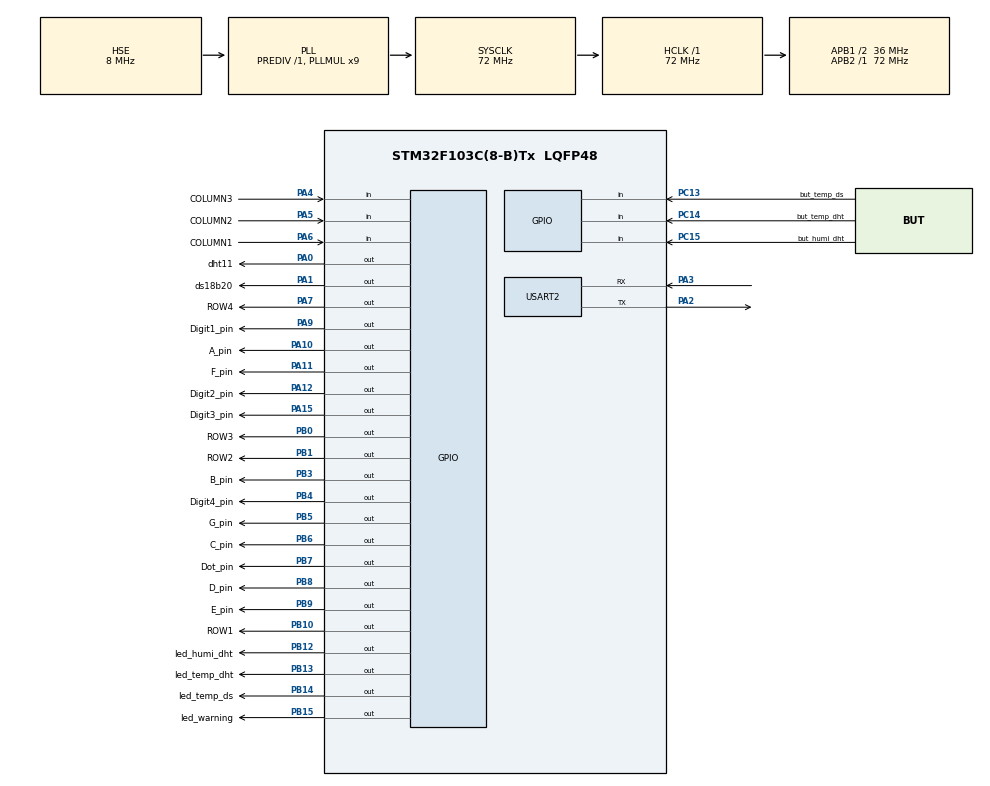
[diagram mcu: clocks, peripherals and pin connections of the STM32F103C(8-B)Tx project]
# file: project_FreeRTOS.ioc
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FREERTOS.BinarySemaphores01=semaphore_uart,Dynamic,NULL
FREERTOS.Tasks01=read_data,40,256,read_data_Task,Default,NULL,Dynamic,NULL,NULL;button_set_mode,32,128,button_set_mode_Task,Default,NULL,Dynamic,NULL,NULL;key_pad,24,128,key_pad_Task,Default,NULL,Dynamic,NULL,NULL;display_led7seg,16,128,display_led7seg_Task,Default,NULL,Dynamic,NULL,NULL
FREERTOS.Timers01=timer_get_key_pad,cb_timer_get_key_pad,osTimerOnce,Default,NULL,Dynamic,NULL
FREERTOS.configTOTAL_HEAP_SIZE=5120
FREERTOS.configUSE_NEWLIB_REENTRANT=1
Mcu.Family=STM32F1
Mcu.Name=STM32F103C(8-B)Tx
Mcu.Package=LQFP48
NVIC.PriorityGroup=NVIC_PRIORITYGROUP_4
NVIC.TIM1_UP_IRQn=true\:15\:0\:false\:false\:true\:false\:false\:true\:true
NVIC.TimeBase=TIM1_UP_IRQn
NVIC.TimeBaseIP=TIM1
NVIC.USART2_IRQn=true\:5\:0\:false\:false\:true\:true\:true\:true\:true
PA0-WKUP.GPIO_Label=dht11
PA0-WKUP.PinState=GPIO_PIN_SET
PA0-WKUP.Signal=GPIO_Output
PA1.GPIO_Label=ds18b20
PA1.PinState=GPIO_PIN_SET
PA1.Signal=GPIO_Output
PA10.GPIO_Label=A_pin
PA10.Signal=GPIO_Output
PA11.GPIO_Label=F_pin
PA11.Signal=GPIO_Output
PA12.GPIO_Label=Digit2_pin
PA12.Signal=GPIO_Output
PA13.Mode=Serial_Wire
PA13.Signal=SYS_JTMS-SWDIO
PA14.Mode=Serial_Wire
PA14.Signal=SYS_JTCK-SWCLK
PA15.GPIO_Label=Digit3_pin
PA15.Signal=GPIO_Output
PA2.Mode=Asynchronous
PA2.Signal=USART2_TX
PA3.Mode=Asynchronous
PA3.Signal=USART2_RX
PA4.GPIO_Label=COLUMN3
PA4.GPIO_PuPd=GPIO_PULLUP
PA4.Signal=GPIO_Input
PA5.GPIO_Label=COLUMN2
PA5.GPIO_PuPd=GPIO_PULLUP
PA5.Signal=GPIO_Input
PA6.GPIO_Label=COLUMN1
PA6.GPIO_PuPd=GPIO_PULLUP
PA6.Signal=GPIO_Input
PA7.GPIO_Label=ROW4
PA7.Signal=GPIO_Output
PA9.GPIO_Label=Digit1_pin
PA9.Signal=GPIO_Output
PB0.GPIO_Label=ROW3
PB0.Signal=GPIO_Output
PB1.GPIO_Label=ROW2
PB1.Signal=GPIO_Output
PB10.GPIO_Label=ROW1
PB10.Signal=GPIO_Output
PB12.GPIO_Label=led_humi_dht
PB12.Signal=GPIO_Output
PB13.GPIO_Label=led_temp_dht
PB13.Signal=GPIO_Output
PB14.GPIO_Label=led_temp_ds
PB14.Signal=GPIO_Output
PB15.GPIO_Label=led_warning
PB15.Signal=GPIO_Output
PB3.GPIO_Label=B_pin
PB3.Signal=GPIO_Output
PB4.GPIO_Label=Digit4_pin
PB4.Signal=GPIO_Output
PB5.GPIO_Label=G_pin
PB5.Signal=GPIO_Output
PB6.GPIO_Label=C_pin
PB6.Signal=GPIO_Output
PB7.GPIO_Label=Dot_pin
PB7.Signal=GPIO_Output
PB8.GPIO_Label=D_pin
PB8.Signal=GPIO_Output
PB9.GPIO_Label=E_pin
PB9.Signal=GPIO_Output
PC13-TAMPER-RTC.GPIO_Label=but_temp_ds
PC13-TAMPER-RTC.GPIO_PuPd=GPIO_PULLUP
PC13-TAMPER-RTC.Signal=GPIO_Input
PC14-OSC32_IN.GPIO_Label=but_temp_dht
PC14-OSC32_IN.GPIO_PuPd=GPIO_PULLUP
PC14-OSC32_IN.Signal=GPIO_Input
PC15-OSC32_OUT.GPIO_Label=but_humi_dht
PC15-OSC32_OUT.GPIO_PuPd=GPIO_PULLUP
PC15-OSC32_OUT.Signal=GPIO_Input
PD0-OSC_IN.Mode=HSE-External-Oscillator
PD0-OSC_IN.Signal=RCC_OSC_IN
PD1-OSC_OUT.Mode=HSE-External-Oscillator
PD1-OSC_OUT.Signal=RCC_OSC_OUT
ProjectManager.HeapSize=0x200
ProjectManager.StackSize=0x400
ProjectManager.TargetToolchain=STM32CubeIDE
RCC.AHBFreq_Value=72000000
RCC.APB1CLKDivider=RCC_HCLK_DIV2
RCC.APB1Freq_Value=36000000
RCC.APB1TimFreq_Value=72000000
RCC.APB2Freq_Value=72000000
RCC.APB2TimFreq_Value=72000000
RCC.HCLKFreq_Value=72000000
RCC.PLLMUL=RCC_PLL_MUL9
RCC.PLLSourceVirtual=RCC_PLLSOURCE_HSE
RCC.SYSCLKFreq_VALUE=72000000
RCC.SYSCLKSource=RCC_SYSCLKSOURCE_PLLCLK
RCC.USBFreq_Value=72000000
TIM2.Prescaler=72
USART2.VirtualMode=VM_ASYNC
VP_FREERTOS_VS_CMSIS_V2.Mode=CMSIS_V2
VP_SYS_VS_tim1.Mode=TIM1
VP_TIM2_VS_ClockSourceINT.Mode=Internal
board=custom

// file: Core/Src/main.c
/* USER CODE BEGIN Header */
/**
  ******************************************************************************
  * @file           : main.c
  * @brief          : Main program body
  ******************************************************************************
  * @attention
  *
  * Copyright (c) 2023 STMicroelectronics.
  * All rights reserved.
  *
  * This software is licensed under terms that can be found in the LICENSE file
  * in the root directory of this software component.
  * If no LICENSE file comes with this software, it is provided AS-IS.
  *
  ******************************************************************************
  */
/* USER CODE END Header */
#include "main.h"
#include "cmsis_os.h"

/* USER CODE BEGIN Includes */
#include "led7seg.h"
#include "ds18b20.h"
#include "DHT.h"
#include "keypad.h"
#include <string.h>
#include <stdio.h>
#include <stdbool.h>
#include <stdlib.h>
/* USER CODE END Includes */

/* USER CODE BEGIN PTD */
typedef enum {ds_temp, dht_temp, dht_humi} status_t;
/* USER CODE END PTD */

TIM_HandleTypeDef htim2;

UART_HandleTypeDef huart2;

/* Definitions for read_data */
osThreadId_t read_dataHandle;
const osThreadAttr_t read_data_attributes = {
  .name = "read_data",
  .stack_size = 256 * 4,
  .priority = (osPriority_t) osPriorityHigh,
};
/* Definitions for button_set_mode */
osThreadId_t button_set_modeHandle;
const osThreadAttr_t button_set_mode_attributes = {
  .name = "button_set_mode",
  .stack_size = 128 * 4,
  .priority = (osPriority_t) osPriorityAboveNormal,
};
/* Definitions for key_pad */
osThreadId_t key_padHandle;
const osThreadAttr_t key_pad_attributes = {
  .name = "key_pad",
  .stack_size = 128 * 4,
  .priority = (osPriority_t) osPriorityNormal,
};
/* Definitions for display_led7seg */
osThreadId_t display_led7segHandle;
const osThreadAttr_t display_led7seg_attributes = {
  .name = "display_led7seg",
  .stack_size = 128 * 4,
  .priority = (osPriority_t) osPriorityBelowNormal,
};
/* Definitions for timer_get_key_pad */
osTimerId_t timer_get_key_padHandle;
const osTimerAttr_t timer_get_key_pad_attributes = {
  .name = "timer_get_key_pad"
};
/* Definitions for semaphore_uart */
osSemaphoreId_t semaphore_uartHandle;
const osSemaphoreAttr_t semaphore_uart_attributes = {
  .name = "semaphore_uart"
};
/* USER CODE BEGIN PV */
DS18B20_Name DS1;
DHT_DataTypedef DHT11_Data;
float temp_ds, temp_dht, humi_dht;
status_t getting = ds_temp;
int period = 10; //set up period
float warning_temp = 40; //set up warning
float warning_humi = 70; //set up warning_humi
bool getting_period = 0;
bool getting_warning = 0;
bool getting_warning_humi = 0;
char uart_receive[3];
/* USER CODE END PV */

void SystemClock_Config(void);
static void MX_GPIO_Init(void);
static void MX_TIM2_Init(void);
static void MX_USART2_UART_Init(void);
void read_data_Task(void *argument);
void button_set_mode_Task(void *argument);
void key_pad_Task(void *argument);
void display_led7seg_Task(void *argument);
void cb_timer_get_key_pad(void *argument);

/* USER CODE BEGIN PFP */
#ifdef __GNUC__
  /* With GCC, small printf (option LD Linker->Libraries->Small printf
     set to 'Yes') calls __io_putchar() */
int __io_putchar(int ch)
#else
int fputc(int ch, FILE *f)
#endif /* __GNUC__ */
{
  /* Place your implementation of fputc here */
  /* e.g. write a character to the UART3 and Loop until the end of transmission */
  HAL_UART_Transmit(&huart2, (uint8_t *)&ch, 1, HAL_MAX_DELAY);

  return ch;
}
/* USER CODE END PFP */

/* USER CODE BEGIN 0 */
void set_up_led(status_t getting)
{
	if(getting == ds_temp)
	{
		HAL_GPIO_WritePin(led_temp_ds_GPIO_Port, led_temp_ds_Pin, SET);
		HAL_GPIO_WritePin(led_temp_dht_GPIO_Port, led_temp_dht_Pin, RESET);
		HAL_GPIO_WritePin(led_humi_dht_GPIO_Port, led_humi_dht_Pin, RESET);
	}
	else if(getting == dht_temp)
	{
		HAL_GPIO_WritePin(led_temp_ds_GPIO_Port, led_temp_ds_Pin, RESET);
		HAL_GPIO_WritePin(led_temp_dht_GPIO_Port, led_temp_dht_Pin, SET);
		HAL_GPIO_WritePin(led_humi_dht_GPIO_Port, led_humi_dht_Pin, RESET);
	}
	else if(getting == dht_humi)
	{
		HAL_GPIO_WritePin(led_temp_ds_GPIO_Port, led_temp_ds_Pin, RESET);
		HAL_GPIO_WritePin(led_temp_dht_GPIO_Port, led_temp_dht_Pin, RESET);
		HAL_GPIO_WritePin(led_humi_dht_GPIO_Port, led_humi_dht_Pin, SET);
	}
	if((temp_ds > warning_temp) || (temp_dht > warning_temp) || (humi_dht > warning_humi))
	{
		HAL_GPIO_WritePin(led_warning_GPIO_Port, led_warning_Pin, SET);
	}
	else
	{
		HAL_GPIO_WritePin(led_warning_GPIO_Port, led_warning_Pin, RESET);
	}

}

void uart_received_task(void)
{
	printf("Receive: %s\n", uart_receive);
		if(uart_receive[0] == '*')
		{
			char get_uart[2];
			strncpy(get_uart, uart_receive+1, 2);
			printf("Get uart to change period: %s\n", get_uart);
			period = atoi(get_uart);
			printf("Changed period: %d\n", period);
		}
		else if(uart_receive[0] == '#')
		{
			char get_uart[2];
			strncpy(get_uart, uart_receive+1, 2);
			printf("Get uart to change level warning: %s\n", get_uart);
			warning_temp = (float) atoi(get_uart);
			printf("Changed warning_temp: %d\n", (int) warning_temp);
		}
		else if(uart_receive[0] == '0')
		{
			char get_uart[2];
			strncpy(get_uart, uart_receive+1, 2);
			printf("Get uart to change level warning_humi: %s\n", get_uart);
			warning_humi = (float) atoi(get_uart);
			printf("Changed warning_humi: %d\n", (int) warning_humi);
		}
		else if(strcmp(uart_receive, "md1") == 0)
		{
			getting = ds_temp;
			printf("Changed mode to ds18b20 temperature!\n");
		}
		else if(strcmp(uart_receive, "md2") == 0)
		{
			getting = dht_temp;
			printf("Changed mode to dht11 temperature!\n");
		}
		else if(strcmp(uart_receive, "md3") == 0)
		{
			getting = dht_humi;
			printf("Changed mode to dht11 humidity!\n");
		}
		else
		{
			for(int i = 0; i < 3; i ++)
			{
				uart_receive[i] = '\0';
			}
		}
		set_up_led(getting);
		HAL_UART_Receive_IT(&huart2, (uint8_t *) uart_receive, 3);
}
/* USER CODE END 0 */

int main(void)
{

  /* MCU Configuration--------------------------------------------------------*/

  /* Reset of all peripherals, Initializes the Flash interface and the Systick. */
  HAL_Init();

  /* Configure the system clock */
  SystemClock_Config();

  /* Initialize all configured peripherals */
  MX_GPIO_Init();
  MX_TIM2_Init();
  MX_USART2_UART_Init();
  /* USER CODE BEGIN 2 */
  HAL_UART_Receive_IT(&huart2, (uint8_t *) uart_receive, 3);
  /* USER CODE END 2 */

  /* Init scheduler */
  osKernelInitialize();

  /* Create the semaphores(s) */
  /* creation of semaphore_uart */
  semaphore_uartHandle = osSemaphoreNew(1, 1, &semaphore_uart_attributes);

  /* Create the timer(s) */
  /* creation of timer_get_key_pad */
  timer_get_key_padHandle = osTimerNew(cb_timer_get_key_pad, osTimerOnce, NULL, &timer_get_key_pad_attributes);

  /* Create the thread(s) */
  /* creation of read_data */
  read_dataHandle = osThreadNew(read_data_Task, NULL, &read_data_attributes);

  /* creation of button_set_mode */
  button_set_modeHandle = osThreadNew(button_set_mode_Task, NULL, &button_set_mode_attributes);

  /* creation of key_pad */
  key_padHandle = osThreadNew(key_pad_Task, NULL, &key_pad_attributes);

  /* creation of display_led7seg */
  display_led7segHandle = osThreadNew(display_led7seg_Task, NULL, &display_led7seg_attributes);

  /* Start scheduler */
  osKernelStart();

  /* We should never get here as control is now taken by the scheduler */
  /* Infinite loop */
  while (1)
  {

  }
}

void SystemClock_Config(void)
{
  RCC_OscInitTypeDef RCC_OscInitStruct = {0};
  RCC_ClkInitTypeDef RCC_ClkInitStruct = {0};

  /** Initializes the RCC Oscillators according to the specified parameters
  * in the RCC_OscInitTypeDef structure.
  */
  RCC_OscInitStruct.OscillatorType = RCC_OSCILLATORTYPE_HSE;
  RCC_OscInitStruct.HSEState = RCC_HSE_ON;
  RCC_OscInitStruct.HSEPredivValue = RCC_HSE_PREDIV_DIV1;
  RCC_OscInitStruct.HSIState = RCC_HSI_ON;
  RCC_OscInitStruct.PLL.PLLState = RCC_PLL_ON;
  RCC_OscInitStruct.PLL.PLLSource = RCC_PLLSOURCE_HSE;
  RCC_OscInitStruct.PLL.PLLMUL = RCC_PLL_MUL9;
  if (HAL_RCC_OscConfig(&RCC_OscInitStruct) != HAL_OK)
  {
    Error_Handler();
  }

  /** Initializes the CPU, AHB and APB buses clocks
  */
  RCC_ClkInitStruct.ClockType = RCC_CLOCKTYPE_HCLK|RCC_CLOCKTYPE_SYSCLK
                              |RCC_CLOCKTYPE_PCLK1|RCC_CLOCKTYPE_PCLK2;
  RCC_ClkInitStruct.SYSCLKSource = RCC_SYSCLKSOURCE_PLLCLK;
  RCC_ClkInitStruct.AHBCLKDivider = RCC_SYSCLK_DIV1;
  RCC_ClkInitStruct.APB1CLKDivider = RCC_HCLK_DIV2;
  RCC_ClkInitStruct.APB2CLKDivider = RCC_HCLK_DIV1;

  if (HAL_RCC_ClockConfig(&RCC_ClkInitStruct, FLASH_LATENCY_2) != HAL_OK)
  {
    Error_Handler();
  }
}

static void MX_TIM2_Init(void)
{

  TIM_ClockConfigTypeDef sClockSourceConfig = {0};
  TIM_MasterConfigTypeDef sMasterConfig = {0};

  htim2.Instance = TIM2;
  htim2.Init.Prescaler = 72;
  htim2.Init.CounterMode = TIM_COUNTERMODE_UP;
  htim2.Init.Period = 65535;
  htim2.Init.ClockDivision = TIM_CLOCKDIVISION_DIV1;
  htim2.Init.AutoReloadPreload = TIM_AUTORELOAD_PRELOAD_DISABLE;
  if (HAL_TIM_Base_Init(&htim2) != HAL_OK)
  {
    Error_Handler();
  }
  sClockSourceConfig.ClockSource = TIM_CLOCKSOURCE_INTERNAL;
  if (HAL_TIM_ConfigClockSource(&htim2, &sClockSourceConfig) != HAL_OK)
  {
    Error_Handler();
  }
  sMasterConfig.MasterOutputTrigger = TIM_TRGO_RESET;
  sMasterConfig.MasterSlaveMode = TIM_MASTERSLAVEMODE_DISABLE;
  if (HAL_TIMEx_MasterConfigSynchronization(&htim2, &sMasterConfig) != HAL_OK)
  {
    Error_Handler();
  }

}

static void MX_USART2_UART_Init(void)
{

  huart2.Instance = USART2;
  huart2.Init.BaudRate = 115200;
  huart2.Init.WordLength = UART_WORDLENGTH_8B;
  huart2.Init.StopBits = UART_STOPBITS_1;
  huart2.Init.Parity = UART_PARITY_NONE;
  huart2.Init.Mode = UART_MODE_TX_RX;
  huart2.Init.HwFlowCtl = UART_HWCONTROL_NONE;
  huart2.Init.OverSampling = UART_OVERSAMPLING_16;
  if (HAL_UART_Init(&huart2) != HAL_OK)
  {
    Error_Handler();
  }

}

static void MX_GPIO_Init(void)
{
  GPIO_InitTypeDef GPIO_InitStruct = {0};

  /* GPIO Ports Clock Enable */
  __HAL_RCC_GPIOC_CLK_ENABLE();
  __HAL_RCC_GPIOD_CLK_ENABLE();
  __HAL_RCC_GPIOA_CLK_ENABLE();
  __HAL_RCC_GPIOB_CLK_ENABLE();

  /*Configure GPIO pin Output Level */
  HAL_GPIO_WritePin(GPIOA, dht11_Pin|ds18b20_Pin, GPIO_PIN_SET);

  /*Configure GPIO pin Output Level */
  HAL_GPIO_WritePin(GPIOA, ROW4_Pin|Digit1_pin_Pin|A_pin_Pin|F_pin_Pin
                          |Digit2_pin_Pin|Digit3_pin_Pin, GPIO_PIN_RESET);

  /*Configure GPIO pin Output Level */
  HAL_GPIO_WritePin(GPIOB, ROW3_Pin|ROW2_Pin|ROW1_Pin|led_humi_dht_Pin
                          |led_temp_dht_Pin|led_temp_ds_Pin|led_warning_Pin|B_pin_Pin
                          |Digit4_pin_Pin|G_pin_Pin|C_pin_Pin|Dot_pin_Pin
                          |D_pin_Pin|E_pin_Pin, GPIO_PIN_RESET);

  /*Configure GPIO pins : but_temp_ds_Pin but_temp_dht_Pin but_humi_dht_Pin */
  GPIO_InitStruct.Pin = but_temp_ds_Pin|but_temp_dht_Pin|but_humi_dht_Pin;
  GPIO_InitStruct.Mode = GPIO_MODE_INPUT;
  GPIO_InitStruct.Pull = GPIO_PULLUP;
  HAL_GPIO_Init(GPIOC, &GPIO_InitStruct);

  /*Configure GPIO pins : dht11_Pin ds18b20_Pin ROW4_Pin Digit1_pin_Pin
                           A_pin_Pin F_pin_Pin Digit2_pin_Pin Digit3_pin_Pin */
  GPIO_InitStruct.Pin = dht11_Pin|ds18b20_Pin|ROW4_Pin|Digit1_pin_Pin
                          |A_pin_Pin|F_pin_Pin|Digit2_pin_Pin|Digit3_pin_Pin;
  GPIO_InitStruct.Mode = GPIO_MODE_OUTPUT_PP;
  GPIO_InitStruct.Pull = GPIO_NOPULL;
  GPIO_InitStruct.Speed = GPIO_SPEED_FREQ_LOW;
  HAL_GPIO_Init(GPIOA, &GPIO_InitStruct);

  /*Configure GPIO pins : COLUMN3_Pin COLUMN2_Pin COLUMN1_Pin */
  GPIO_InitStruct.Pin = COLUMN3_Pin|COLUMN2_Pin|COLUMN1_Pin;
  GPIO_InitStruct.Mode = GPIO_MODE_INPUT;
  GPIO_InitStruct.Pull = GPIO_PULLUP;
  HAL_GPIO_Init(GPIOA, &GPIO_InitStruct);

  /*Configure GPIO pins : ROW3_Pin ROW2_Pin ROW1_Pin led_humi_dht_Pin
                           led_temp_dht_Pin led_temp_ds_Pin led_warning_Pin B_pin_Pin
                           Digit4_pin_Pin G_pin_Pin C_pin_Pin Dot_pin_Pin
                           D_pin_Pin E_pin_Pin */
  GPIO_InitStruct.Pin = ROW3_Pin|ROW2_Pin|ROW1_Pin|led_humi_dht_Pin
                          |led_temp_dht_Pin|led_temp_ds_Pin|led_warning_Pin|B_pin_Pin
                          |Digit4_pin_Pin|G_pin_Pin|C_pin_Pin|Dot_pin_Pin
                          |D_pin_Pin|E_pin_Pin;
  GPIO_InitStruct.Mode = GPIO_MODE_OUTPUT_PP;
  GPIO_InitStruct.Pull = GPIO_NOPULL;
  GPIO_InitStruct.Speed = GPIO_SPEED_FREQ_LOW;
  HAL_GPIO_Init(GPIOB, &GPIO_InitStruct);

}

/* USER CODE BEGIN 4 */
void HAL_UART_RxCpltCallback(UART_HandleTypeDef *huart)
{
	/* Prevent unused argument(s) compilation warning */
		UNUSED(huart);
	/* NOTE: This function should not be modified, when the callback is needed,
		   the HAL_UART_RxCpltCallback could be implemented in the user file
	*/
	uart_received_task();
}
/* USER CODE END 4 */

void read_data_Task(void *argument)
{
  /* USER CODE BEGIN 5 */
		DS18B20_Init(&DS1, &htim2, ds18b20_GPIO_Port, ds18b20_Pin);
		HAL_Delay(2000);
		uint32_t tick = osKernelGetTickCount();
  /* Infinite loop */
  for(;;)
  {
		osSemaphoreAcquire(semaphore_uartHandle, osWaitForever);
		printf("Tick:%ld\n", tick);
		tick = tick + period * 1000;
		printf("In read_sensor_task!\n");
		temp_ds = DS18B20_ReadTemp(&DS1);
		printf("Read DS12B20!\n");
		DHT_GetData(&DHT11_Data);
		temp_dht = DHT11_Data.Temperature;
		humi_dht = DHT11_Data.Humidity;
		printf("Read DHT11!\n");
		printf("Value temp_ds:%f!\n", temp_ds);
		printf("Value temp_dht:%f!\n", temp_dht);
		printf("Value humi_dht:%f!\n", humi_dht);
		osSemaphoreRelease(semaphore_uartHandle);
		set_up_led(getting);
		osDelayUntil(tick);
  }
  /* USER CODE END 5 */
}

void button_set_mode_Task(void *argument)
{
  /* USER CODE BEGIN button_set_mode_Task */
  /* Infinite loop */
  for(;;)
  {
		osSemaphoreAcquire(semaphore_uartHandle, osWaitForever);
		if(HAL_GPIO_ReadPin(but_temp_ds_GPIO_Port, but_temp_ds_Pin) == 0)
		{
			if(getting != ds_temp)
			{
				getting = ds_temp;
				printf("Changed mode to ds18b20 temperature!\n");
			}
		}
		else if(HAL_GPIO_ReadPin(but_temp_dht_GPIO_Port, but_temp_dht_Pin) == 0)
		{
			if(getting != dht_temp)
			{
				getting = dht_temp;
				printf("Changed mode to dht11 temperature!\n");
			}
		}
		else if(HAL_GPIO_ReadPin(but_humi_dht_GPIO_Port, but_humi_dht_Pin) == 0)
		{
			if(getting != dht_humi)
			{
				getting = dht_humi;
				printf("Changed mode to dht11 humidity!\n");
			}
		}
		osSemaphoreRelease(semaphore_uartHandle);
		set_up_led(getting);
		osDelay(10);
  }
  /* USER CODE END button_set_mode_Task */
}

void key_pad_Task(void *argument)
{
  /* USER CODE BEGIN key_pad_Task */
	char set_up[3];// = {'\0', '\0', '\0'};
	int index_key = 0;
	char key;
  /* Infinite loop */
  for(;;)
  {
	  key = getKey();
	  if(key)
	  {
		  osSemaphoreAcquire(semaphore_uartHandle, osWaitForever);
		  printf("Key: %c\n", key);
		  if(key == '*')
		  {
			  printf("Change period....\n");
			  getting_period = 1;
			  osTimerStart(timer_get_key_padHandle,5000);
			  index_key = 0;
			  key = 0;
		  }
		  else if(key == '#')
		  {
			  printf("Change level....\n");
			  getting_warning = 1;
			  getting_period = 0;
			  osTimerStart(timer_get_key_padHandle,5000);
			  index_key = 0;
			  key = 0;
		  }
		  else if((key == '0') && (getting_period == 0) && (getting_warning == 0) && (getting_warning_humi == 0))
		  {
			  printf("Change warning humidity....\n");
			  getting_warning_humi = 1;
			  osTimerStart(timer_get_key_padHandle,5000);
			  index_key = 0;
			  key = 0;
		  }
		  else if(getting_period)
		  {
			  set_up[index_key] = key;
			  index_key ++;
			  if(index_key > 1)
			  {
				  period = atoi(set_up);
				  printf("Changed period: %d\n", period);
				  osTimerStop(timer_get_key_padHandle);
				  getting_period = 0;
				  index_key = 0;
			  }
		  }
		  else if(getting_warning)
		  {
			  set_up[index_key] = key;
			  index_key ++;
			  if(index_key > 1)
			  {
				  warning_temp = (float) atoi(set_up);
				  printf("Changed warning_temp: %d\n", (int) warning_temp);
				  osTimerStop(timer_get_key_padHandle);
				  getting_warning = 0;
				  index_key = 0;
			  }
		  }
		  else if(getting_warning_humi)
		  {
			  set_up[index_key] = key;
			  index_key ++;
			  if(index_key > 1)
			  {
				  warning_humi = (float) atoi(set_up);
				  printf("Changed warning_humi: %d\n", (int) warning_humi);
				  osTimerStop(timer_get_key_padHandle);
				  getting_warning_humi = 0;
				  index_key = 0;
			  }
		  }
		  osSemaphoreRelease(semaphore_uartHandle);
		  set_up_led(getting);
		  key = 0;
	  }

	  osDelay(10);
  }
  /* USER CODE END key_pad_Task */
}

void display_led7seg_Task(void *argument)
{
  /* USER CODE BEGIN display_led7seg_Task */
  /* Infinite loop */
  for(;;)
  {
	  if(getting == ds_temp)
	  {
		  display_float(temp_ds);
	  }
	  else if(getting == dht_temp)
	  {
		  display_float(temp_dht);
	  }
	  else if(getting == dht_humi)
	  {
		  display_float(humi_dht);
	  }
	  osDelay(10);
  }
  /* USER CODE END display_led7seg_Task */
}

/* cb_timer_get_key_pad function */
void cb_timer_get_key_pad(void *argument)
{
  /* USER CODE BEGIN cb_timer_get_key_pad */
	osSemaphoreAcquire(semaphore_uartHandle, osWaitForever);
	printf("Out setting!\n");
	osSemaphoreRelease(semaphore_uartHandle);
	getting_period = 0;
	getting_warning = 0;
  /* USER CODE END cb_timer_get_key_pad */
}

void HAL_TIM_PeriodElapsedCallback(TIM_HandleTypeDef *htim)
{
  if (htim->Instance == TIM1) {
    HAL_IncTick();
  }
}

void Error_Handler(void)
{
  __disable_irq();
  while (1)
  {
  }
}
